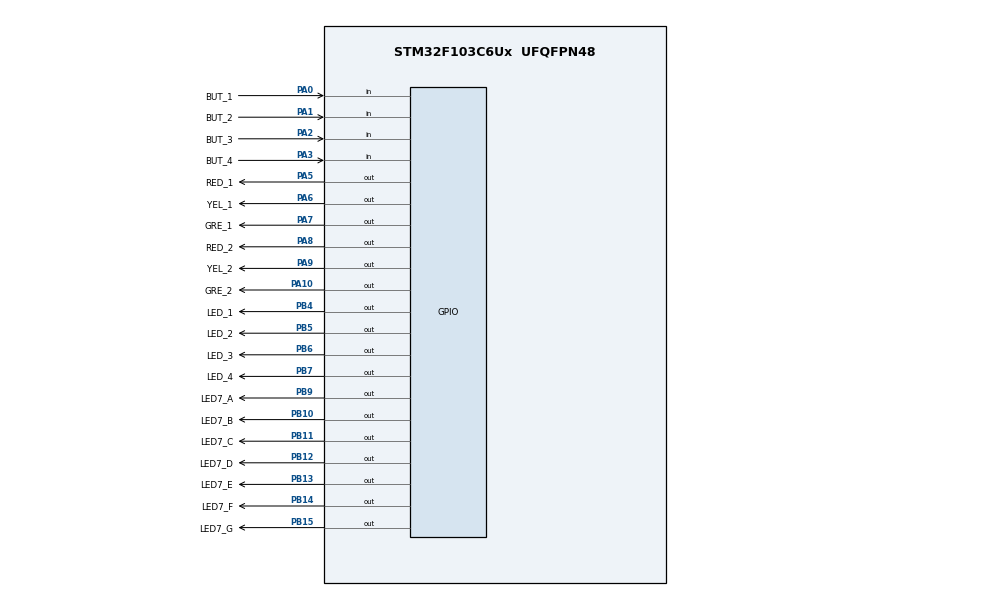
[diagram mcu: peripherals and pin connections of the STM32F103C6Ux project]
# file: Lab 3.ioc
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Mcu.Family=STM32F1
Mcu.Name=STM32F103C6Ux
Mcu.Package=UFQFPN48
NVIC.PriorityGroup=NVIC_PRIORITYGROUP_4
NVIC.TIM2_IRQn=true\:0\:0\:false\:false\:true\:true\:true
PA0-WKUP.GPIO_Label=BUT_1
PA0-WKUP.Signal=GPIO_Input
PA1.GPIO_Label=BUT_2
PA1.Signal=GPIO_Input
PA10.GPIO_Label=GRE_2
PA10.Signal=GPIO_Output
PA2.GPIO_Label=BUT_3
PA2.Signal=GPIO_Input
PA3.GPIO_Label=BUT_4
PA3.Signal=GPIO_Input
PA5.GPIO_Label=RED_1
PA5.Signal=GPIO_Output
PA6.GPIO_Label=YEL_1
PA6.Signal=GPIO_Output
PA7.GPIO_Label=GRE_1
PA7.Signal=GPIO_Output
PA8.GPIO_Label=RED_2
PA8.Signal=GPIO_Output
PA9.GPIO_Label=YEL_2
PA9.Signal=GPIO_Output
PB10.GPIO_Label=LED7_B
PB10.Signal=GPIO_Output
PB11.GPIO_Label=LED7_C
PB11.Signal=GPIO_Output
PB12.GPIO_Label=LED7_D
PB12.Signal=GPIO_Output
PB13.GPIO_Label=LED7_E
PB13.Signal=GPIO_Output
PB14.GPIO_Label=LED7_F
PB14.Signal=GPIO_Output
PB15.GPIO_Label=LED7_G
PB15.Signal=GPIO_Output
PB4.GPIO_Label=LED_1
PB4.Signal=GPIO_Output
PB5.GPIO_Label=LED_2
PB5.Signal=GPIO_Output
PB6.GPIO_Label=LED_3
PB6.Signal=GPIO_Output
PB7.GPIO_Label=LED_4
PB7.Signal=GPIO_Output
PB9.GPIO_Label=LED7_A
PB9.Signal=GPIO_Output
ProjectManager.HeapSize=0x200
ProjectManager.StackSize=0x400
ProjectManager.TargetToolchain=STM32CubeIDE
RCC.APB1Freq_Value=8000000
RCC.APB2Freq_Value=8000000
TIM2.Period=9
TIM2.Prescaler=7999
VP_SYS_VS_ND.Mode=No_Debug
VP_TIM2_VS_ClockSourceINT.Mode=Internal
board=custom

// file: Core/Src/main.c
/* USER CODE BEGIN Header */
/**
  ******************************************************************************
  * @file           : main.c
  * @brief          : Main program body
  ******************************************************************************
  * @attention
  *
  * <h2><center>&copy; Copyright (c) 2022 STMicroelectronics.
  * All rights reserved.</center></h2>
  *
  * This software component is licensed by ST under BSD 3-Clause license,
  * the "License"; You may not use this file except in compliance with the
  * License. You may obtain a copy of the License at:
  *                        opensource.org/licenses/BSD-3-Clause
  *
  ******************************************************************************
  */
/* USER CODE END Header */
#include "main.h"

/* USER CODE BEGIN Includes */
#include "timer.h"
#include "input_processing.h"
#include "led_control.h"
#include "traffic_light.h"
/* USER CODE END Includes */

TIM_HandleTypeDef htim2;

void SystemClock_Config(void);
static void MX_GPIO_Init(void);
static void MX_TIM2_Init(void);

/* USER CODE BEGIN 0 */
int mode1_sw;
int red_cnt;
int yel_cnt;
int gre_cnt;
/* USER CODE END 0 */

int main(void)
{

  /* MCU Configuration--------------------------------------------------------*/

  /* Reset of all peripherals, Initializes the Flash interface and the Systick. */
  HAL_Init();

  /* Configure the system clock */
  SystemClock_Config();

  /* Initialize all configured peripherals */
  MX_GPIO_Init();
  MX_TIM2_Init();
  /* USER CODE BEGIN 2 */

  // init counter
   mode1_sw = 0;
   red_cnt = 0;
   yel_cnt = 0;
   gre_cnt = 0;
   // init traffic light
   traffic_light_init();
   // init 7seg
   UpdateBuffer_7SEG_LEDS(0, 0);
   UpdateBuffer_7SEG_LEDS(1, 0);
   UpdateBuffer_7SEG_LEDS(2, 0);
   UpdateBuffer_7SEG_LEDS(3, 0);
   // set timer
   HAL_TIM_Base_Start_IT(&htim2);
   timer_set(0, 10);
   timer_set(1, 10);

  /* USER CODE END 2 */

  /* Infinite loop */
  while (1)
  {

    /* USER CODE BEGIN 3 */
	fsm_for_input_processing_1();
	fsm_for_input_processing_2();
	fsm_for_input_processing_3();
	fsm_for_input_processing_4();

	mode1_sw = mode1_sw_updating();
	if (mode1_sw == 1){ //if there is an update mode1_sw == 1
		red_cnt = red_updating() ;
		yel_cnt = yel_updating() ;
		gre_cnt = gre_updating() ;
		if (timer_flag[1] == 1){//turn on timer
			traffic_light_update1(red_cnt, yel_cnt, gre_cnt) ;
			traffic_light_update2(red_cnt, yel_cnt, gre_cnt) ;
			timer_set(1, 200) ;
		}
	}

	if (timer_flag[0] == 1){
		Driver_7SEG_LEDS() ;
		timer_set(0,50) ;
	}
  }
  /* USER CODE END 3 */
}

void SystemClock_Config(void)
{
  RCC_OscInitTypeDef RCC_OscInitStruct = {0};
  RCC_ClkInitTypeDef RCC_ClkInitStruct = {0};

  /** Initializes the RCC Oscillators according to the specified parameters
  * in the RCC_OscInitTypeDef structure.
  */
  RCC_OscInitStruct.OscillatorType = RCC_OSCILLATORTYPE_HSI;
  RCC_OscInitStruct.HSIState = RCC_HSI_ON;
  RCC_OscInitStruct.HSICalibrationValue = RCC_HSICALIBRATION_DEFAULT;
  RCC_OscInitStruct.PLL.PLLState = RCC_PLL_NONE;
  if (HAL_RCC_OscConfig(&RCC_OscInitStruct) != HAL_OK)
  {
    Error_Handler();
  }
  /** Initializes the CPU, AHB and APB buses clocks
  */
  RCC_ClkInitStruct.ClockType = RCC_CLOCKTYPE_HCLK|RCC_CLOCKTYPE_SYSCLK
                              |RCC_CLOCKTYPE_PCLK1|RCC_CLOCKTYPE_PCLK2;
  RCC_ClkInitStruct.SYSCLKSource = RCC_SYSCLKSOURCE_HSI;
  RCC_ClkInitStruct.AHBCLKDivider = RCC_SYSCLK_DIV1;
  RCC_ClkInitStruct.APB1CLKDivider = RCC_HCLK_DIV1;
  RCC_ClkInitStruct.APB2CLKDivider = RCC_HCLK_DIV1;

  if (HAL_RCC_ClockConfig(&RCC_ClkInitStruct, FLASH_LATENCY_0) != HAL_OK)
  {
    Error_Handler();
  }
}

static void MX_TIM2_Init(void)
{

  TIM_ClockConfigTypeDef sClockSourceConfig = {0};
  TIM_MasterConfigTypeDef sMasterConfig = {0};

  htim2.Instance = TIM2;
  htim2.Init.Prescaler = 7999;
  htim2.Init.CounterMode = TIM_COUNTERMODE_UP;
  htim2.Init.Period = 9;
  htim2.Init.ClockDivision = TIM_CLOCKDIVISION_DIV1;
  htim2.Init.AutoReloadPreload = TIM_AUTORELOAD_PRELOAD_DISABLE;
  if (HAL_TIM_Base_Init(&htim2) != HAL_OK)
  {
    Error_Handler();
  }
  sClockSourceConfig.ClockSource = TIM_CLOCKSOURCE_INTERNAL;
  if (HAL_TIM_ConfigClockSource(&htim2, &sClockSourceConfig) != HAL_OK)
  {
    Error_Handler();
  }
  sMasterConfig.MasterOutputTrigger = TIM_TRGO_RESET;
  sMasterConfig.MasterSlaveMode = TIM_MASTERSLAVEMODE_DISABLE;
  if (HAL_TIMEx_MasterConfigSynchronization(&htim2, &sMasterConfig) != HAL_OK)
  {
    Error_Handler();
  }

}

static void MX_GPIO_Init(void)
{
  GPIO_InitTypeDef GPIO_InitStruct = {0};

  /* GPIO Ports Clock Enable */
  __HAL_RCC_GPIOA_CLK_ENABLE();
  __HAL_RCC_GPIOB_CLK_ENABLE();

  /*Configure GPIO pin Output Level */
  HAL_GPIO_WritePin(GPIOA, RED_1_Pin|YEL_1_Pin|GRE_1_Pin|RED_2_Pin
                          |YEL_2_Pin|GRE_2_Pin, GPIO_PIN_RESET);

  /*Configure GPIO pin Output Level */
  HAL_GPIO_WritePin(GPIOB, LED7_B_Pin|LED7_C_Pin|LED7_D_Pin|LED7_E_Pin
                          |LED7_F_Pin|LED7_G_Pin|LED_1_Pin|LED_2_Pin
                          |LED_3_Pin|LED_4_Pin|LED7_A_Pin, GPIO_PIN_RESET);

  /*Configure GPIO pins : BUT_1_Pin BUT_2_Pin BUT_3_Pin BUT_4_Pin */
  GPIO_InitStruct.Pin = BUT_1_Pin|BUT_2_Pin|BUT_3_Pin|BUT_4_Pin;
  GPIO_InitStruct.Mode = GPIO_MODE_INPUT;
  GPIO_InitStruct.Pull = GPIO_NOPULL;
  HAL_GPIO_Init(GPIOA, &GPIO_InitStruct);

  /*Configure GPIO pins : RED_1_Pin YEL_1_Pin GRE_1_Pin RED_2_Pin
                           YEL_2_Pin GRE_2_Pin */
  GPIO_InitStruct.Pin = RED_1_Pin|YEL_1_Pin|GRE_1_Pin|RED_2_Pin
                          |YEL_2_Pin|GRE_2_Pin;
  GPIO_InitStruct.Mode = GPIO_MODE_OUTPUT_PP;
  GPIO_InitStruct.Pull = GPIO_NOPULL;
  GPIO_InitStruct.Speed = GPIO_SPEED_FREQ_LOW;
  HAL_GPIO_Init(GPIOA, &GPIO_InitStruct);

  /*Configure GPIO pins : LED7_B_Pin LED7_C_Pin LED7_D_Pin LED7_E_Pin
                           LED7_F_Pin LED7_G_Pin LED_1_Pin LED_2_Pin
                           LED_3_Pin LED_4_Pin LED7_A_Pin */
  GPIO_InitStruct.Pin = LED7_B_Pin|LED7_C_Pin|LED7_D_Pin|LED7_E_Pin
                          |LED7_F_Pin|LED7_G_Pin|LED_1_Pin|LED_2_Pin
                          |LED_3_Pin|LED_4_Pin|LED7_A_Pin;
  GPIO_InitStruct.Mode = GPIO_MODE_OUTPUT_PP;
  GPIO_InitStruct.Pull = GPIO_NOPULL;
  GPIO_InitStruct.Speed = GPIO_SPEED_FREQ_LOW;
  HAL_GPIO_Init(GPIOB, &GPIO_InitStruct);

}

void Error_Handler(void)
{
  __disable_irq();
  while (1)
  {
  }
}

/************************ (C) COPYRIGHT STMicroelectronics *****END OF FILE****/
